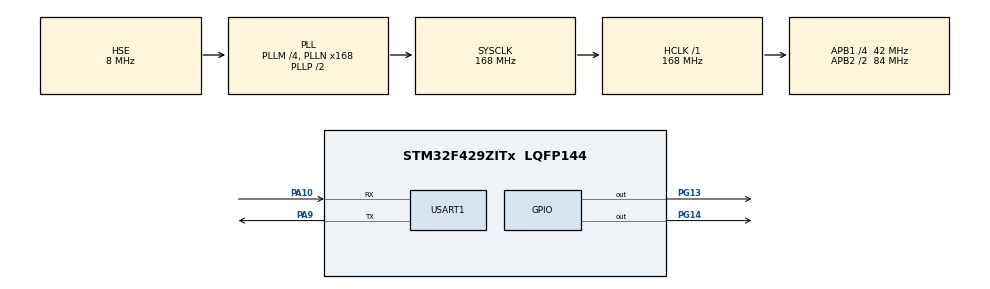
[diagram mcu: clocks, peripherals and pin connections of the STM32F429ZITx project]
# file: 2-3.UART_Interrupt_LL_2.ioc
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Mcu.Family=STM32F4
Mcu.Name=STM32F429ZITx
Mcu.Package=LQFP144
NVIC.PriorityGroup=NVIC_PRIORITYGROUP_4
NVIC.USART1_IRQn=true\:0\:0\:false\:true\:true\:1\:true\:true
PA10.Mode=Asynchronous
PA10.Signal=USART1_RX
PA9.Mode=Asynchronous
PA9.Signal=USART1_TX
PG13.Signal=GPIO_Output
PG14.Signal=GPIO_Output
PH0/OSC_IN.Mode=HSE-External-Oscillator
PH0/OSC_IN.Signal=RCC_OSC_IN
PH1/OSC_OUT.Mode=HSE-External-Oscillator
PH1/OSC_OUT.Signal=RCC_OSC_OUT
ProjectManager.HeapSize=0x200
ProjectManager.StackSize=0x400
ProjectManager.TargetToolchain=TrueSTUDIO
RCC.48MHZClocksFreq_Value=84000000
RCC.AHBFreq_Value=168000000
RCC.APB1CLKDivider=RCC_HCLK_DIV4
RCC.APB1Freq_Value=42000000
RCC.APB1TimFreq_Value=84000000
RCC.APB2CLKDivider=RCC_HCLK_DIV2
RCC.APB2Freq_Value=84000000
RCC.APB2TimFreq_Value=168000000
RCC.CortexFreq_Value=168000000
RCC.HCLKFreq_Value=168000000
RCC.HSE_VALUE=8000000
RCC.HSI_VALUE=16000000
RCC.LSE_VALUE=32768
RCC.PLLM=4
RCC.PLLN=168
RCC.PLLSourceVirtual=RCC_PLLSOURCE_HSE
RCC.SYSCLKFreq_VALUE=168000000
RCC.SYSCLKSource=RCC_SYSCLKSOURCE_PLLCLK
RCC.VCOOutputFreq_Value=336000000
USART1.VirtualMode=VM_ASYNC
board=custom

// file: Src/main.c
/* USER CODE BEGIN Header */
/**
  ******************************************************************************
  * @file           : main.c
  * @brief          : Main program body
  ******************************************************************************
  * @attention
  *
  * <h2><center>&copy; Copyright (c) 2019 STMicroelectronics.
  * All rights reserved.</center></h2>
  *
  * This software component is licensed by ST under BSD 3-Clause license,
  * the "License"; You may not use this file except in compliance with the
  * License. You may obtain a copy of the License at:
  *                        opensource.org/licenses/BSD-3-Clause
  *
  ******************************************************************************
  */
/* USER CODE END Header */

#include "main.h"
#include "usart.h"
#include "gpio.h"

/* USER CODE BEGIN Includes */
#include <stdio.h>
/* USER CODE END Includes */

/* USER CODE BEGIN PV */
//uint8_t rx1_data;
uint8_t g_u8Rx1_data;
/* USER CODE END PV */

void SystemClock_Config(void);
static void MX_NVIC_Init(void);

/* USER CODE BEGIN 0 */
/*
int _write(int file, char* p, int len)
{
  HAL_UART_Transmit(&huart1, p, len, 10);
  return len;
}
*/
int _write(int file, char *ptr, int len)
{
  //HAL_UART_Transmit(&huart1, (uint8_t*)ptr, (uint16_t)len, 0xFFFFFFFF);

  int DataIdx;

  for (DataIdx = 0; DataIdx < len; DataIdx++)
  {
    while (!LL_USART_IsActiveFlag_TXE(USART1))
    {
    //we can put some timeout here
    }
    //LL_USART_TransmitData8(USART2,*ptr++);
    LL_USART_TransmitData8(USART1, *ptr++);
  }

  return len;
}

void USART_Rx_Callback(USART_TypeDef *USARTx)
{
  if(USARTx == USART1)
  {
    //rx1_data = (USARTx->RDR & 0x1ff);
    //g_u8Rx1_data = LL_USART_ReceiveData8(USARTx);
    g_u8Rx1_data = (USARTx->DR & 0x1ff);

    LL_USART_TransmitData8(USART1, g_u8Rx1_data);

    switch(g_u8Rx1_data)
    {
      case '1':
        HAL_GPIO_WritePin(GPIOG, GPIO_PIN_13, GPIO_PIN_SET);
        break;

      case '0':
        HAL_GPIO_WritePin(GPIOG, GPIO_PIN_13, GPIO_PIN_RESET);
        break;
    }

  }
}

/* USER CODE END 0 */

int main(void)
{
  /* USER CODE BEGIN 1 */
  //uint8_t* receive_data;
  //uint8_t count = 0;
  //float   float_data = 1.234567;
  /* USER CODE END 1 */

  /* MCU Configuration--------------------------------------------------------*/

  /* Reset of all peripherals, Initializes the Flash interface and the Systick. */
  HAL_Init();

  /* Configure the system clock */
  SystemClock_Config();

  /* Initialize all configured peripherals */
  MX_GPIO_Init();
  MX_USART1_UART_Init();

  /* Initialize interrupts */
  MX_NVIC_Init();

  /* USER CODE BEGIN 2 */
  LL_USART_EnableIT_RXNE(USART1);
  /* USER CODE END 2 */

  /* Infinite loop */
  /* USER CODE BEGIN WHILE */
  while (1)
  {
    printf("TEST : %d\r\n", 77);

    HAL_Delay(1000);
    /* USER CODE END WHILE */

  }
}

void SystemClock_Config(void)
{
  RCC_OscInitTypeDef RCC_OscInitStruct = {0};
  RCC_ClkInitTypeDef RCC_ClkInitStruct = {0};

  /** Configure the main internal regulator output voltage
  */
  __HAL_RCC_PWR_CLK_ENABLE();
  __HAL_PWR_VOLTAGESCALING_CONFIG(PWR_REGULATOR_VOLTAGE_SCALE1);
  /** Initializes the CPU, AHB and APB busses clocks
  */
  RCC_OscInitStruct.OscillatorType = RCC_OSCILLATORTYPE_HSE;
  RCC_OscInitStruct.HSEState = RCC_HSE_ON;
  RCC_OscInitStruct.PLL.PLLState = RCC_PLL_ON;
  RCC_OscInitStruct.PLL.PLLSource = RCC_PLLSOURCE_HSE;
  RCC_OscInitStruct.PLL.PLLM = 4;
  RCC_OscInitStruct.PLL.PLLN = 168;
  RCC_OscInitStruct.PLL.PLLP = RCC_PLLP_DIV2;
  RCC_OscInitStruct.PLL.PLLQ = 4;
  if (HAL_RCC_OscConfig(&RCC_OscInitStruct) != HAL_OK)
  {
    Error_Handler();
  }
  /** Initializes the CPU, AHB and APB busses clocks
  */
  RCC_ClkInitStruct.ClockType = RCC_CLOCKTYPE_HCLK|RCC_CLOCKTYPE_SYSCLK
                              |RCC_CLOCKTYPE_PCLK1|RCC_CLOCKTYPE_PCLK2;
  RCC_ClkInitStruct.SYSCLKSource = RCC_SYSCLKSOURCE_PLLCLK;
  RCC_ClkInitStruct.AHBCLKDivider = RCC_SYSCLK_DIV1;
  RCC_ClkInitStruct.APB1CLKDivider = RCC_HCLK_DIV4;
  RCC_ClkInitStruct.APB2CLKDivider = RCC_HCLK_DIV2;

  if (HAL_RCC_ClockConfig(&RCC_ClkInitStruct, FLASH_LATENCY_5) != HAL_OK)
  {
    Error_Handler();
  }
}

/**
  * @brief NVIC Configuration.
  * @retval None
  */
static void MX_NVIC_Init(void)
{
  /* USART1_IRQn interrupt configuration */
  NVIC_SetPriority(USART1_IRQn, NVIC_EncodePriority(NVIC_GetPriorityGrouping(),0, 0));
  NVIC_EnableIRQ(USART1_IRQn);
}

void Error_Handler(void)
{
}

/************************ (C) COPYRIGHT STMicroelectronics *****END OF FILE****/
